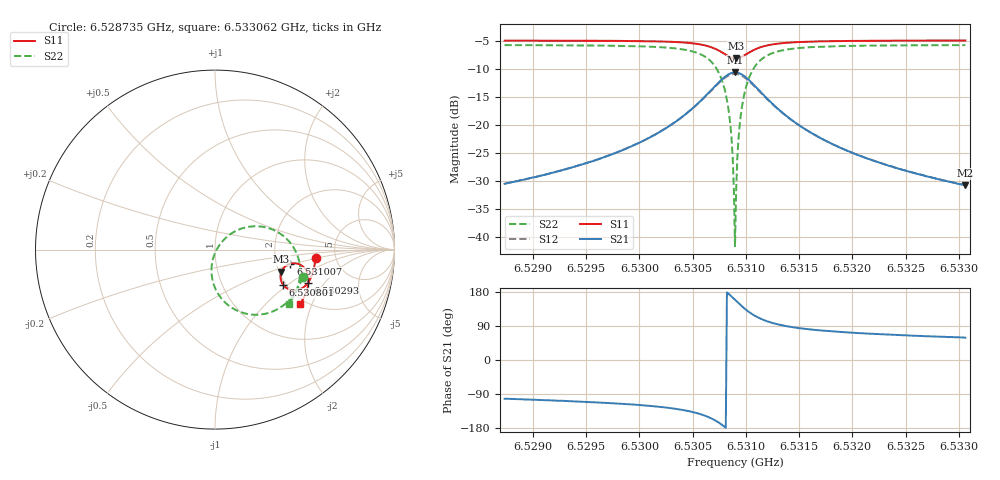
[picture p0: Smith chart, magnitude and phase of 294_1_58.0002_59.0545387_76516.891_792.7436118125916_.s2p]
#  HZ  S  RI  R  50.00
! Rohde & Schwarz Vector Network Analyzer
! Rohde-Schwarz,ZNB20-2Port,1311601062101988,3.16
! Created: UTC 3/21/2024, 1:03:24 AM
! freq[Hz]  re:S11  im:S11  re:S21  im:S21  re:S12  im:S12  re:S22  im:S22
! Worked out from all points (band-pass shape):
!   401 points, 6.528735 GHz to 6.533062 GHz, reference 50 ohm
!   highest |S21| = -10.69 dB at 6.530898 GHz (marker M1); lowest = -30.8 dB at 6.533062 GHz (marker M2)
!   |S21| within 3 dB of the highest: 6.530682 GHz to 6.531115 GHz (432.8 kHz wide, 0.00663 % of centre)
!   lowest |S11| = -8.2 dB at 6.530909 GHz (marker M3), VSWR 2.28, Z = 103 - j29.7 ohm
!   |S11| at or under -10 dB: nowhere
!   |S22| runs from -41.7 to -5.8 dB; largest |S21 - S12| = 0.011
!   S11 on the Smith chart (normalised r, x): 6.528735 GHz: 3.50, -0.46; 6.530293 GHz: 2.59, -1.39; 6.530801 GHz: 1.93, -0.93; 6.531007 GHz: 2.38, -0.46; 6.533062 GHz: 1.85, -1.65
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6.5287348e9  0.56 -0.0445  -0.00631 -0.0289  -0.0069 -0.029  0.4887 -0.1543
6.5294596e9  0.5509 -0.1044  -0.0151 -0.0414  -0.0161 -0.041  0.4595 -0.2197
6.5301844e9  0.5243 -0.1751  -0.047 -0.0711  -0.0489 -0.0699  0.3819 -0.3103
6.5302926e9  0.5156 -0.1879  -0.0595 -0.0789  -0.0617 -0.0773  0.3555 -0.3279
6.5306388e9  0.4492 -0.2266  -0.1612 -0.0951  -0.1633 -0.0885  0.1642 -0.3548
6.5307361e9  0.4084 -0.2194  -0.2239 -0.0666  -0.2228 -0.0576  0.0595 -0.2976
6.530801e9  0.3797 -0.1959  -0.2656 -0.0165  -0.2605 -0.00723  -0.00273 -0.2066
6.5308443e9  0.3671 -0.1696  -0.2811 0.034  -0.2731 0.0416  -0.0198 -0.1205
6.530866e9  0.3649 -0.1541  -0.282 0.0625  -0.2726 0.0687  -0.0161 -0.0735
6.5308768e9  0.3649 -0.1459  -0.28 0.0771  -0.2705 0.0826  -0.0108 -0.0499
6.5308984e9  0.3677 -0.13  -0.2721 0.1057  -0.2621 0.1095  0.007 -0.00432
6.5309092e9  0.3704 -0.1222  -0.2661 0.1193  -0.2561 0.1221  0.0191 0.0169
6.53092e9  0.374 -0.115  -0.2589 0.1323  -0.2488 0.1343  0.0334 0.0367
6.5309309e9  0.3782 -0.1083  -0.2503 0.1443  -0.2405 0.1454  0.0493 0.0549
6.5309417e9  0.3832 -0.1018  -0.2409 0.1555  -0.2313 0.1555  0.0668 0.0714
6.5309525e9  0.3884 -0.0962  -0.2304 0.1652  -0.2214 0.1648  0.0851 0.0856
6.5310066e9  0.4198 -0.0787  -0.1732 0.1961  -0.1667 0.1935  0.1848 0.1266
6.5310823e9  0.4609 -0.0789  -0.1015 0.1985  -0.0981 0.1959  0.3052 0.1176
6.5311905e9  0.4967 -0.1005  -0.0395 0.1695  -0.0379 0.168  0.4052 0.0539
6.5316232e9  0.5214 -0.179  0.0142 0.0821  0.0154 0.0818  0.4746 -0.13
6.532348e9  0.5021 -0.2514  0.0167 0.0394  0.0175 0.0392  0.4465 -0.2443
6.533062e9  0.4748 -0.304  0.0148 0.0246  0.0153 0.0245  0.4114 -0.305
